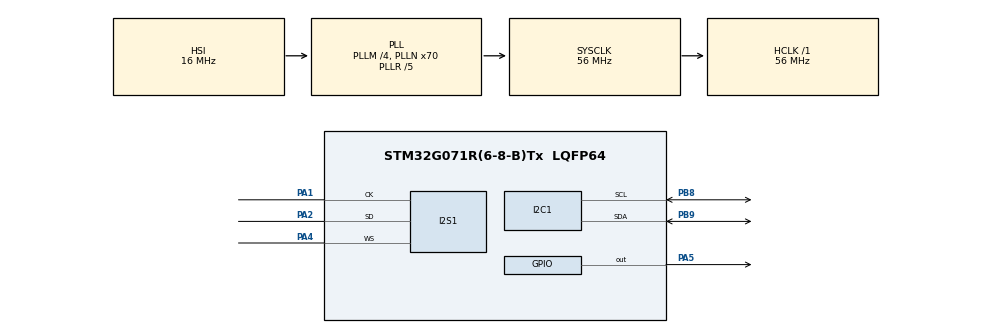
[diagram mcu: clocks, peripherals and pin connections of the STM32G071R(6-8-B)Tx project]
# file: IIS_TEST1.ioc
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Dma.Request0=SPI1_TX
Dma.SPI1_TX.0.Direction=DMA_MEMORY_TO_PERIPH
Dma.SPI1_TX.0.EventEnable=DISABLE
Dma.SPI1_TX.0.Instance=DMA1_Channel1
Dma.SPI1_TX.0.MemDataAlignment=DMA_MDATAALIGN_HALFWORD
Dma.SPI1_TX.0.MemInc=DMA_MINC_ENABLE
Dma.SPI1_TX.0.Mode=DMA_NORMAL
Dma.SPI1_TX.0.PeriphDataAlignment=DMA_PDATAALIGN_HALFWORD
Dma.SPI1_TX.0.PeriphInc=DMA_PINC_DISABLE
Dma.SPI1_TX.0.Polarity=HAL_DMAMUX_REQ_GEN_RISING
Dma.SPI1_TX.0.Priority=DMA_PRIORITY_LOW
Dma.SPI1_TX.0.RequestNumber=1
Dma.SPI1_TX.0.SignalID=NONE
Dma.SPI1_TX.0.SyncEnable=DISABLE
Dma.SPI1_TX.0.SyncPolarity=HAL_DMAMUX_SYNC_NO_EVENT
Dma.SPI1_TX.0.SyncRequestNumber=1
Dma.SPI1_TX.0.SyncSignalID=NONE
I2C1.Timing=0x10606DA4
I2S1.AudioFreq=I2S_AUDIOFREQ_44K
I2S1.CPOL=I2S_CPOL_LOW
I2S1.ErrorAudioFreq=-0.56 %
I2S1.FullDuplexMode=I2S_FULLDUPLEXMODE_DISABLE
I2S1.Instance=SPI$Index
I2S1.RealAudioFreq=43.75 KHz
I2S1.VirtualMode=I2S_MODE_MASTER
Mcu.Family=STM32G0
Mcu.Name=STM32G071R(6-8-B)Tx
Mcu.Package=LQFP64
NVIC.DMA1_Channel1_IRQn=true\:0\:0\:false\:false\:true\:false\:true
PA1.GPIO_PuPd=GPIO_PULLUP
PA1.GPIO_Speed=GPIO_SPEED_FREQ_VERY_HIGH
PA1.Mode=Half_Duplex_Master
PA1.PinState=GPIO_PIN_RESET
PA1.Signal=I2S1_CK
PA2.GPIO_Speed=GPIO_SPEED_FREQ_VERY_HIGH
PA2.Mode=Half_Duplex_Master
PA2.Signal=I2S1_SD
PA4.GPIO_Speed=GPIO_SPEED_FREQ_VERY_HIGH
PA4.Mode=Half_Duplex_Master
PA4.Signal=I2S1_WS
PA5.Signal=GPIO_Output
PB8.GPIO_Speed=GPIO_SPEED_FREQ_VERY_HIGH
PB8.Mode=I2C
PB8.Signal=I2C1_SCL
PB9.GPIO_Speed=GPIO_SPEED_FREQ_VERY_HIGH
PB9.Mode=I2C
PB9.Signal=I2C1_SDA
PF0-OSC_IN\ (PF0).Mode=HSE-External-Oscillator
PF0-OSC_IN\ (PF0).Signal=RCC_OSC_IN
PF1-OSC_OUT\ (PF1).Mode=HSE-External-Oscillator
PF1-OSC_OUT\ (PF1).Signal=RCC_OSC_OUT
ProjectManager.HeapSize=0x200
ProjectManager.StackSize=0x400
ProjectManager.TargetToolchain=MDK-ARM V5.27
RCC.ADCFreq_Value=56000000
RCC.AHBFreq_Value=56000000
RCC.CodegenConfigPeriph=false
RCC.CortexFreq_Value=56000000
RCC.EXTERNAL_CLOCK_VALUE=48000
RCC.HCLKFreq_Value=56000000
RCC.HSE_VALUE=8000000
RCC.HSICalibrationValue=16
RCC.HSI_VALUE=16000000
RCC.LSE_VALUE=32768
RCC.PLLM=RCC_PLLM_DIV4
RCC.PLLN=70
RCC.PLLP=RCC_PLLP_DIV10
RCC.PLLQ=RCC_PLLQ_DIV5
RCC.PLLR=RCC_PLLR_DIV5
RCC.SYSCLKFreq_VALUE=56000000
RCC.SYSCLKSource=RCC_SYSCLKSOURCE_PLLCLK
RCC.VCOOutputFreq_Value=280000000
VP_SYS_VS_DBSignals.Mode=DisableDeadBatterySignals
board=custom

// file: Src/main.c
#include "main.h"
I2C_HandleTypeDef hi2c1;
I2S_HandleTypeDef hi2s1;
DMA_HandleTypeDef hdma_spi1_tx;
void SystemClock_Config(void);
static void MX_GPIO_Init(void);
static void MX_DMA_Init(void);
static void MX_I2S1_Init(void);
static void MX_I2C1_Init(void);

#include "wave_data.h"
#define WM8960_ADDRESS  0x1A
#define AUIDO_START_ADDRESS       58 /* 相对于音频文件头大小的偏移量 */
#define DMA_MAX(x)      (((x) <= 0xFFFF)? (x):0xFFFF)
//寄存器值
static uint16_t WM8960_REG_VAL[56] =
{
  0x0097, 0x0097, 0x0000, 0x0000, 0x0000, 0x0008, 0x0000, 0x000A,
  0x01C0, 0x0000, 0x00FF, 0x00FF, 0x0000, 0x0000, 0x0000, 0x0000,
  0x0000, 0x007B, 0x0100, 0x0032, 0x0000, 0x00C3, 0x00C3, 0x01C0,
  0x0000, 0x0000, 0x0000, 0x0000, 0x0000, 0x0000, 0x0000, 0x0000,
  0x0100, 0x0100, 0x0050, 0x0050, 0x0050, 0x0050, 0x0000, 0x0000,
  0x0000, 0x0000, 0x0040, 0x0000, 0x0000, 0x0050, 0x0050, 0x0000,
  0x0000, 0x0037, 0x004D, 0x0080, 0x0008, 0x0031, 0x0026, 0x00ED
};

//extern uint32_t AudioRemSize;   /* 此变量保存音频文件中的剩余数据 */
//extern uint16_t *CurrentPos;    /* 此变量保存音频指针的当前位置 */
uint32_t AudioTotalSize;  			/* 这个变量保存音频文件的总大小 */
uint32_t AudioRemSize;    			/* 此变量保存音频文件中的剩余数据 */
uint16_t *CurrentPos;     			/* 此变量保存音频指针的当前位置 */
uint32_t WaveDataLength=0;
uint8_t XferCplt;

uint8_t WM8960_Write_Reg(uint8_t reg, uint16_t dat);
uint8_t WM89060_Init(void);
uint32_t AudioFlashPlay(uint16_t* pBuffer, uint32_t FullSize, uint32_t StartAdd); //缓存区

int main(void)
{
	uint8_t res=1;
  HAL_Init();
  SystemClock_Config();
  MX_GPIO_Init();
  MX_DMA_Init();
  MX_I2S1_Init();
  MX_I2C1_Init();

  res = WM89060_Init();
  if(res == 0)
		HAL_GPIO_WritePin(GPIOA,GPIO_PIN_5,1); //  WM89060模块初始化成功，之后有杂音
  else
    while(1)
		{
			HAL_GPIO_TogglePin(GPIOA,GPIO_PIN_5); // WM89060模块初始化失败
      HAL_Delay(1000);
    }
  WaveDataLength = sizeof(WaveData) - AUIDO_START_ADDRESS; //计算音频数据长度 = 总长度 - 开头
  while (1)
  {
    XferCplt = 0;
    AudioFlashPlay((uint16_t*)(WaveData + AUIDO_START_ADDRESS),WaveDataLength,AUIDO_START_ADDRESS);
//    while(XferCplt != 1)
//      HAL_Delay(10);
  }
}

void SystemClock_Config(void)
{
  RCC_OscInitTypeDef RCC_OscInitStruct = {0};
  RCC_ClkInitTypeDef RCC_ClkInitStruct = {0};

  /** Initializes the RCC Oscillators according to the specified parameters
  * in the RCC_OscInitTypeDef structure.
  */
  RCC_OscInitStruct.OscillatorType = RCC_OSCILLATORTYPE_HSI;
  RCC_OscInitStruct.HSIState = RCC_HSI_ON;
  RCC_OscInitStruct.HSIDiv = RCC_HSI_DIV1;
  RCC_OscInitStruct.HSICalibrationValue = 16;
  RCC_OscInitStruct.PLL.PLLState = RCC_PLL_ON;
  RCC_OscInitStruct.PLL.PLLSource = RCC_PLLSOURCE_HSI;
  RCC_OscInitStruct.PLL.PLLM = RCC_PLLM_DIV4;
  RCC_OscInitStruct.PLL.PLLN = 70;
  RCC_OscInitStruct.PLL.PLLP = RCC_PLLP_DIV10;
  RCC_OscInitStruct.PLL.PLLQ = RCC_PLLQ_DIV5;
  RCC_OscInitStruct.PLL.PLLR = RCC_PLLR_DIV5;
  if (HAL_RCC_OscConfig(&RCC_OscInitStruct) != HAL_OK)
  {
    Error_Handler();
  }
  /** Initializes the CPU, AHB and APB buses clocks
  */
  RCC_ClkInitStruct.ClockType = RCC_CLOCKTYPE_HCLK|RCC_CLOCKTYPE_SYSCLK
                              |RCC_CLOCKTYPE_PCLK1;
  RCC_ClkInitStruct.SYSCLKSource = RCC_SYSCLKSOURCE_PLLCLK;
  RCC_ClkInitStruct.AHBCLKDivider = RCC_SYSCLK_DIV1;
  RCC_ClkInitStruct.APB1CLKDivider = RCC_HCLK_DIV1;

  if (HAL_RCC_ClockConfig(&RCC_ClkInitStruct, FLASH_LATENCY_2) != HAL_OK)
  {
    Error_Handler();
  }
}

static void MX_I2C1_Init(void)
{

  hi2c1.Instance = I2C1;
  hi2c1.Init.Timing = 0x10606DA4;
  hi2c1.Init.OwnAddress1 = 0;
  hi2c1.Init.AddressingMode = I2C_ADDRESSINGMODE_7BIT;
  hi2c1.Init.DualAddressMode = I2C_DUALADDRESS_DISABLE;
  hi2c1.Init.OwnAddress2 = 0;
  hi2c1.Init.OwnAddress2Masks = I2C_OA2_NOMASK;
  hi2c1.Init.GeneralCallMode = I2C_GENERALCALL_DISABLE;
  hi2c1.Init.NoStretchMode = I2C_NOSTRETCH_DISABLE;
  if (HAL_I2C_Init(&hi2c1) != HAL_OK)
  {
    Error_Handler();
  }
  /** Configure Analogue filter
  */
  if (HAL_I2CEx_ConfigAnalogFilter(&hi2c1, I2C_ANALOGFILTER_ENABLE) != HAL_OK)
  {
    Error_Handler();
  }
  /** Configure Digital filter
  */
  if (HAL_I2CEx_ConfigDigitalFilter(&hi2c1, 0) != HAL_OK)
  {
    Error_Handler();
  }

}

static void MX_I2S1_Init(void)
{

  hi2s1.Instance = SPI1;
  hi2s1.Init.Mode = I2S_MODE_MASTER_TX;
  hi2s1.Init.Standard = I2S_STANDARD_PHILIPS;
  hi2s1.Init.DataFormat = I2S_DATAFORMAT_16B;
  hi2s1.Init.MCLKOutput = I2S_MCLKOUTPUT_DISABLE;
  hi2s1.Init.AudioFreq = I2S_AUDIOFREQ_44K;
  hi2s1.Init.CPOL = I2S_CPOL_LOW;
  if (HAL_I2S_Init(&hi2s1) != HAL_OK)
  {
    Error_Handler();
  }

}

static void MX_DMA_Init(void)
{

  /* DMA controller clock enable */
  __HAL_RCC_DMA1_CLK_ENABLE();

  /* DMA interrupt init */
  /* DMA1_Channel1_IRQn interrupt configuration */
  HAL_NVIC_SetPriority(DMA1_Channel1_IRQn, 0, 0);
  HAL_NVIC_EnableIRQ(DMA1_Channel1_IRQn);

}

static void MX_GPIO_Init(void)
{
  GPIO_InitTypeDef GPIO_InitStruct = {0};

  /* GPIO Ports Clock Enable */
  __HAL_RCC_GPIOF_CLK_ENABLE();
  __HAL_RCC_GPIOA_CLK_ENABLE();
  __HAL_RCC_GPIOB_CLK_ENABLE();

  /*Configure GPIO pin Output Level */
  HAL_GPIO_WritePin(GPIOA, GPIO_PIN_5, GPIO_PIN_RESET);

  /*Configure GPIO pin : PA5 */
  GPIO_InitStruct.Pin = GPIO_PIN_5;
  GPIO_InitStruct.Mode = GPIO_MODE_OUTPUT_PP;
  GPIO_InitStruct.Pull = GPIO_NOPULL;
  GPIO_InitStruct.Speed = GPIO_SPEED_FREQ_LOW;
  HAL_GPIO_Init(GPIOA, &GPIO_InitStruct);

}

/* USER CODE BEGIN 4 */

//************************************************************************************************************
void HAL_I2S_TxCpltCallback(I2S_HandleTypeDef *hi2s)
{
  /* 管理剩余文件大小和新地址偏移量: */
  /* 检查是否已经到达文件的末尾 */
  if (AudioRemSize > 0)
	{
    /* 更新媒体层并启用播放 */
    HAL_I2S_Transmit_DMA(&hi2s1,CurrentPos ,(uint16_t)(DMA_MAX(AudioRemSize)));
    /* 更新要播放的剩余数据数 */
    AudioRemSize = AudioRemSize - DMA_MAX(AudioRemSize);
    /* 更新当前音频指针位置 */
    CurrentPos = CurrentPos + DMA_MAX(AudioRemSize);
    //printf("AudioRemSize:%d\r\n",AudioRemSize);
	}
	else
	{
		XferCplt = 1;
		HAL_GPIO_WritePin(GPIOA,GPIO_PIN_5,0);
		//printf("Data transmission to complete.\r\n\r\n");
	}
}
//************************************************************************************************************
uint8_t WM8960_Write_Reg(uint8_t reg, uint16_t dat)
{
  uint8_t res,I2C_Data[2];
  I2C_Data[0] = (reg<<1)|((uint8_t)((dat>>8)&0x0001));  //寄存器地址
  I2C_Data[1] = (uint8_t)(dat&0x00FF);                  //寄存器数据
  res = HAL_I2C_Master_Transmit(&hi2c1,(WM8960_ADDRESS<<1),I2C_Data,2,10);
  if(res == HAL_OK)
    WM8960_REG_VAL[reg] = dat;
  return res;
}

uint8_t WM89060_Init(void)
{
  uint8_t res;
  //重置设备
  res = WM8960_Write_Reg(0x0f, 0x0000);
  if(res != 0)
    return res;
  else ; //WM8960复位成功
  //设置电源
  res =  WM8960_Write_Reg(0x19, 1<<8 | 1<<7 | 1<<6);
  res += WM8960_Write_Reg(0x1A, 1<<8 | 1<<7 | 1<<6 | 1<<5 | 1<<4 | 1<<3);
  res += WM8960_Write_Reg(0x2F, 1<<3 | 1<<2);
  if(res != 0)  	//电源设置失败
    return res;
  //配置时钟
  //MCLK->div1->SYSCLK->DAC/ADC sample Freq = 25MHz(MCLK)/2*256 = 48.8kHz
  WM8960_Write_Reg(0x04, 0x0000);
  //配置ADC和DAC
  WM8960_Write_Reg(0x05, 0x0000);
  //配置音频接口
  //I2S格式16位字长
  WM8960_Write_Reg(0x07, 0x0002);
  //Configure HP_L and HP_R OUTPUTS
  WM8960_Write_Reg(0x02, 0x006F | 0x0100);  //LOUT1 Volume Set
  WM8960_Write_Reg(0x03, 0x006F | 0x0100);  //ROUT1 Volume Set
  //Configure SPK_RP and SPK_RN
  WM8960_Write_Reg(0x28, 0x007F | 0x0100); //Left Speaker Volume
  WM8960_Write_Reg(0x29, 0x007F | 0x0100); //Right Speaker Volume
  //输出使能
  WM8960_Write_Reg(0x31, 0x00F7); //Enable Class D Speaker Outputs
  //配置DAC体积
  WM8960_Write_Reg(0x0a, 0x00FF | 0x0100);
  WM8960_Write_Reg(0x0b, 0x00FF | 0x0100);
  //3D
	//WM8960_Write_Reg(0x10, 0x001F);
  //配置 MIXER
  WM8960_Write_Reg(0x22, 1<<8 | 1<<7);
  WM8960_Write_Reg(0x25, 1<<8 | 1<<7);
  //Jack Detect
  WM8960_Write_Reg(0x18, 1<<6 | 0<<5);
  WM8960_Write_Reg(0x17, 0x01C3);
  WM8960_Write_Reg(0x30, 0x0009);//0x000D,0x0005
  return 0;
}
//************************************************************************************************************
uint32_t AUDIO_Play(uint16_t* pBuffer, uint32_t Size)
{
  uint8_t res;
  /* 设置要播放的数据总数(以半字计数) */
  AudioTotalSize = Size;
  /* 更新媒体层并启用播放 */
  res = HAL_I2S_Transmit_DMA(&hi2s1,pBuffer, (uint32_t)(DMA_MAX(Size/2)));
	HAL_GPIO_TogglePin(GPIOA,GPIO_PIN_5);
	//printf("DMA_MAX(Size/2): %d\r\n",DMA_MAX(Size/2));
  /*更新要播放的剩余数据数 */
  AudioRemSize = (Size/2) - DMA_MAX(AudioTotalSize);
  //printf("AudioRemSize = %d\r\n",AudioRemSize);
  /* 更新当前音频指针位置 */
  CurrentPos = pBuffer + DMA_MAX(AudioTotalSize);
  return res;
}
uint32_t AudioFlashPlay(uint16_t* pBuffer, uint32_t FullSize, uint32_t StartAdd)
{
  AUDIO_Play((uint16_t*)pBuffer, (uint32_t)(FullSize - StartAdd));
  return 0;
}
//************************************************************************************************************

/* USER CODE END 4 */

void Error_Handler(void)
{
  __disable_irq();
  while (1)
  {
  }
}

/************************ (C) COPYRIGHT STMicroelectronics *****END OF FILE****/
